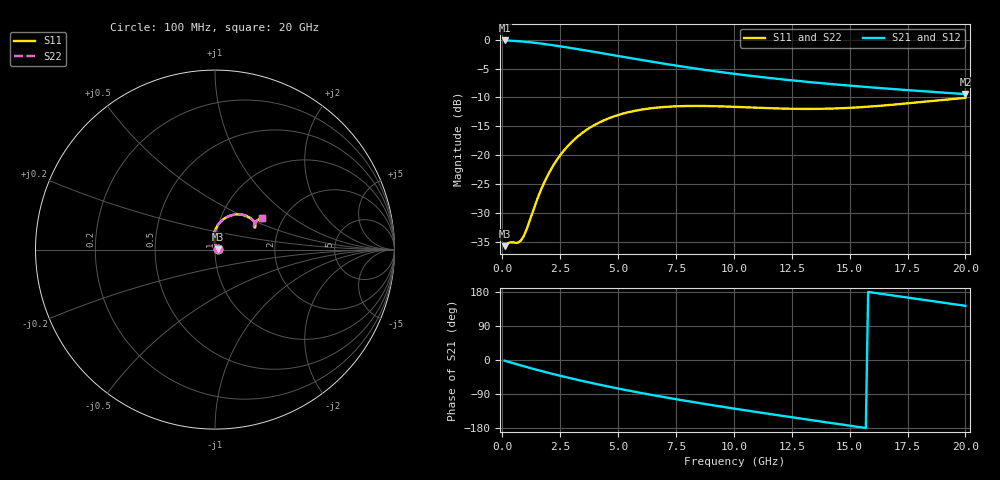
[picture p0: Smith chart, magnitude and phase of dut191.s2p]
! Touchstone file exported from HFSS 2024.1.0
!  File:  C:/UserFiles/LocalFiles/RDL_TSV_Batchsim/temp_RDL_TSV_191_1779441607.aedt
!  Generated:  05:35:01 PM May 22, 2026
!  Design:  RDL_TSV
!  Project:  temp_RDL_TSV_191_1779441607
!  Setup:  Setup1
!  Solution:  Sweep
! Variables:
!  dtsv = 9.1um
!  hbump = 3um
!  htsv = 68.52um
!  ldown = 362.89um
!  lrdl = 540.52um
!  p = 40
!  p1 = 48.86um
!  rhole = 10um
!  subl = 3250.75um
!  t = 450um
!  tdown = 2.22um
!  trdl = 3.84um
!  viad = 10um
!  wdown = 25.74um
!  wrdl = 23.03um
!  xbump = 18um
# GHz S MA R 50.000000
! Terminal data exported
! Port[1] = TM1_1_T1
! Port[2] = TM1_4_T1
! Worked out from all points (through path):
!   200 points, 100 MHz to 20 GHz, reference 50 ohm
!   highest |S21| = -0.15 dB at 100 MHz (marker M1); lowest = -9.4 dB at 20 GHz (marker M2)
!   group delay of S21, straight-line fit = 28.5 ps
!   lowest |S11| = -35.7 dB at 100 MHz (marker M3), VSWR 1.03, Z = 51.7 + j0.244 ohm
!   |S11| at or under -10 dB: start of sweep to end of sweep
!   |S22| runs from -35.7 to -10.0 dB; largest |S21 - S12| = 3.9e-14
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0.1  0.01641 8.3  0.9834 -1.9  0.9834 -1.9  0.01641 8.3
! Gamma 0 0 0 0
! Port Impedance 50 0 50 0
0.3  0.01761 19.4  0.9799 -5.5  0.9799 -5.5  0.01761 19.4
0.6  0.01755 36.7  0.9721 -10.8  0.9721 -10.8  0.01754 36.8
0.8  0.01832 54.0  0.9654 -14.3  0.9654 -14.3  0.01832 54.0
1  0.02167 71.5  0.9576 -17.8  0.9576 -17.8  0.02167 71.5
1.5  0.04127 93.2  0.9336 -26.1  0.9336 -26.1  0.04129 93.2
1.7  0.05192 95.2  0.9226 -29.3  0.9226 -29.3  0.05194 95.2
2.1  0.07545 94.5  0.8994 -35.6  0.8994 -35.6  0.07549 94.5
2.7  0.1125 88.7  0.8625 -44.6  0.8625 -44.6  0.1126 88.7
3.1  0.1365 83.7  0.8374 -50.3  0.8374 -50.3  0.1365 83.7
3.5  0.1588 78.6  0.8124 -55.9  0.8124 -55.9  0.1589 78.6
4.2  0.1929 69.9  0.7693 -65.2  0.7693 -65.2  0.1929 69.9
4.9  0.2197 62.0  0.7279 -74.1  0.7279 -74.1  0.2198 62.0
5.8  0.2441 53.2  0.678 -84.8  0.678 -84.8  0.2442 53.2
6.8  0.2598 45.1  0.628 -96.0  0.628 -96.0  0.2599 45.1
8.4  0.2672 35.9  0.5603 -112.6  0.5603 -112.6  0.2672 35.9
10.1  0.2622 30.5  0.5038 -129.1  0.5038 -129.1  0.2622 30.5
11.7  0.2549 28.9  0.4622 -143.9  0.4622 -143.9  0.2549 28.9
13.4  0.2519 29.9  0.4271 -159.2  0.4271 -159.2  0.2519 30.0
15  0.2573 32.1  0.4002 -173.4  0.4002 -173.4  0.2574 32.1
16.7  0.272 34.0  0.3761 171.7  0.3761 171.7  0.2722 34.1
20  0.314 33.8  0.3383 143.0  0.3383 143.0  0.3144 33.9
